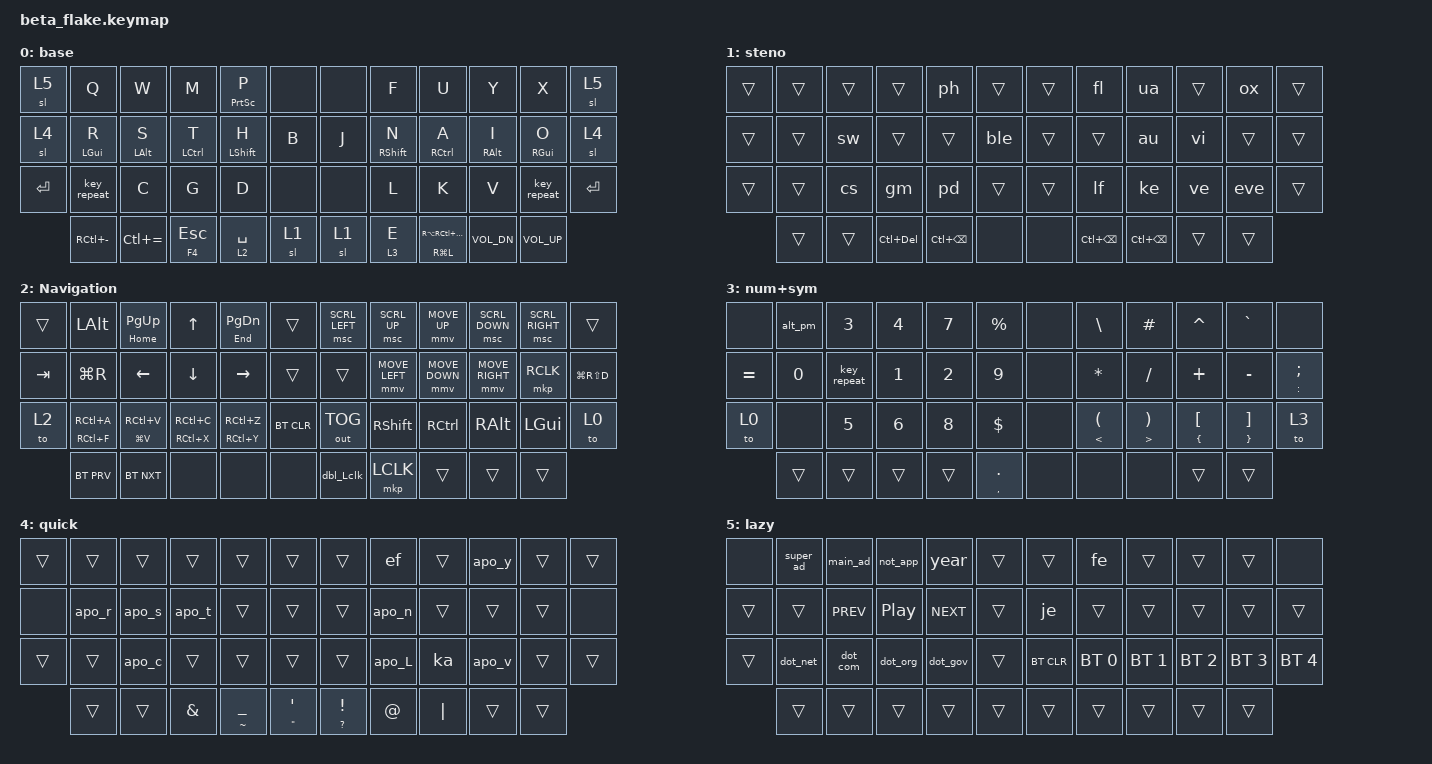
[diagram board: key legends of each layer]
#include <behaviors.dtsi>
#include <dt-bindings/zmk/bt.h>
#include <dt-bindings/zmk/keys.h>
#include <dt-bindings/zmk/outputs.h>
#include <dt-bindings/zmk/pointing.h>

&mt {
    require-prior-idle-ms = <10>;
    tapping-term-ms = <175>;
};

&caps_word { continue-list = <UNDERSCORE BACKSPACE DELETE MINUS N1 N2 N3 N4 N5 N6 N7 N8 N9 N0 PLUS TILDE>; };

&lt { require-prior-idle-ms = <10>; };

/ {
    combos {
        compatible = "zmk,combos";

        zoom {
            bindings = <&kp RC(N0)>;
            key-positions = <36 37>;
            layers = <0>;
        };

        mute {
            bindings = <&kp C_MUTE>;
            key-positions = <44 45>;
            require-prior-idle-ms = <10>;
            layers = <0>;
        };
    };

    macros {
        dbl_Lclk: dbl_Lclk {
            compatible = "zmk,behavior-macro";
            #binding-cells = <0>;
            bindings = <&mkp LCLK &mkp LCLK>;
            label = "DBL_LCLK";
        };

        carets: carets {
            compatible = "zmk,behavior-macro";
            #binding-cells = <0>;
            bindings = <&kp LT &kp GT &kp LEFT_ARROW>;
            label = "CARETS";
        };

        parents: parents {
            compatible = "zmk,behavior-macro";
            #binding-cells = <0>;
            bindings = <&kp LPAR &kp RPAR &kp LEFT_ARROW>;
            label = "PARENTS";
        };

        brackets: brackets {
            compatible = "zmk,behavior-macro";
            #binding-cells = <0>;
            bindings = <&kp LBKT &kp RIGHT_BRACKET &kp LEFT_ARROW>;
            label = "BRACKETS";
        };

        curls: curls {
            compatible = "zmk,behavior-macro";
            #binding-cells = <0>;
            bindings = <&kp LBRC &kp RBRC &kp LEFT_ARROW>;
            label = "CURLS";
        };

        not_app: not_app {
            compatible = "zmk,behavior-macro";
            #binding-cells = <0>;
            bindings = <&kp LS(N) &kp FSLH &kp LS(A)>;
            label = "NOT_APP";
        };

        year: year {
            compatible = "zmk,behavior-macro";
            #binding-cells = <0>;
            bindings = <&kp N2 &kp N0 &kp N2 &kp N5>;
            label = "YEAR";
        };

        main_ad: main_ad {
            compatible = "zmk,behavior-macro";
            #binding-cells = <0>;
            bindings = <&kp D &kp E &kp L &kp L &kp O &kp N &kp DOT &kp M &kp O &kp Y>;
            label = "MAIN_AD";
        };

        super_ad: super_ad {
            compatible = "zmk,behavior-macro";
            #binding-cells = <0>;
            bindings = <&kp S &kp DOT &kp D &kp E &kp L &kp L &kp O &kp N &kp DOT &kp M &kp O &kp Y>;
            label = "SUPER_AD";
        };

        apo_r: apo_r {
            compatible = "zmk,behavior-macro";
            #binding-cells = <0>;
            bindings = <&kp SQT &kp R &kp E &kp SPACE>;
            label = "APO_R";
        };

        apo_s: apo_s {
            compatible = "zmk,behavior-macro";
            #binding-cells = <0>;
            bindings = <&kp SQT &kp S &kp SPACE>;
            label = "APO_S";
        };

        apo_t: apo_t {
            compatible = "zmk,behavior-macro";
            #binding-cells = <0>;
            bindings = <&kp SQT &kp T &kp SPACE>;
            label = "APO_T";
        };

        apo_y: apo_y {
            compatible = "zmk,behavior-macro";
            #binding-cells = <0>;
            bindings = <&kp Y &kp SQT>;
            label = "APO_Y";
        };

        apo_L: apo_L {
            compatible = "zmk,behavior-macro";
            #binding-cells = <0>;
            bindings = <&kp SQT &kp L &kp L &kp SPACE>;
            label = "APO_L";
        };

        apo_v: apo_v {
            compatible = "zmk,behavior-macro";
            #binding-cells = <0>;
            bindings = <&kp SQT &kp V &kp E &kp SPACE>;
            label = "APO_V";
        };

        au: au {
            compatible = "zmk,behavior-macro";
            #binding-cells = <0>;
            bindings = <&kp A &kp U>;
            label = "AU";
        };

        sw: sw {
            compatible = "zmk,behavior-macro";
            #binding-cells = <0>;
            bindings = <&kp S &kp W>;
            label = "SW";
        };

        vi: vi {
            compatible = "zmk,behavior-macro";
            #binding-cells = <0>;
            bindings = <&kp V &kp I>;
            label = "VI";
        };

        cs: cs {
            compatible = "zmk,behavior-macro";
            #binding-cells = <0>;
            bindings = <&kp C &kp S>;
            label = "CS";
        };

        fl: fl {
            compatible = "zmk,behavior-macro";
            #binding-cells = <0>;
            bindings = <&kp F &kp L>;
            label = "FL";
        };

        lf: lf {
            compatible = "zmk,behavior-macro";
            #binding-cells = <0>;
            bindings = <&kp L &kp F>;
            label = "LF";
        };

        comma: comma {
            compatible = "zmk,behavior-macro";
            #binding-cells = <0>;
            bindings = <&kp COMMA &kp SPACE>;
            label = "COMMA";
        };

        period: period {
            compatible = "zmk,behavior-macro";
            #binding-cells = <0>;
            bindings = <&kp DOT &kp SPACE>;
            label = "PERIOD";
        };

        gm: gm {
            compatible = "zmk,behavior-macro";
            #binding-cells = <0>;
            bindings = <&kp G &kp M>;
            label = "GM";
        };

        dot_com: dot_com {
            compatible = "zmk,behavior-macro";
            #binding-cells = <0>;
            bindings = <&kp DOT &kp C &kp O &kp M>;
            label = "DOT_COM";
        };

        dot_net: dot_net {
            compatible = "zmk,behavior-macro";
            #binding-cells = <0>;
            bindings = <&kp DOT &kp N &kp E &kp T>;
            label = "DOT_NET";
        };

        dot_org: dot_org {
            compatible = "zmk,behavior-macro";
            #binding-cells = <0>;
            bindings = <&kp DOT &kp O &kp R &kp G>;
            label = "DOT_ORG";
        };

        dot_gov: dot_gov {
            compatible = "zmk,behavior-macro";
            #binding-cells = <0>;
            bindings = <&kp DOT &kp G &kp O &kp V>;
            label = "DOT_GOV";
        };

        pd: pd {
            compatible = "zmk,behavior-macro";
            #binding-cells = <0>;
            bindings = <&kp P &kp D>;
            label = "PD";
        };

        ef: ef {
            compatible = "zmk,behavior-macro";
            #binding-cells = <0>;
            bindings = <&kp E &kp F>;
            label = "EF";
        };

        fe: fe {
            compatible = "zmk,behavior-macro";
            #binding-cells = <0>;
            bindings = <&kp F &kp E>;
            label = "FE";
        };

        apo_c: apo_c {
            compatible = "zmk,behavior-macro";
            #binding-cells = <0>;
            bindings = <&kp C &kp SQT>;
            label = "APO_C";
        };

        apo_n: apo_n {
            compatible = "zmk,behavior-macro";
            #binding-cells = <0>;
            bindings = <&kp N &kp SQT>;
            label = "APO_N";
        };

        ua: ua {
            compatible = "zmk,behavior-macro";
            #binding-cells = <0>;
            bindings = <&kp U &kp A>;
            label = "UA";
        };

        ox: ox {
            compatible = "zmk,behavior-macro";
            #binding-cells = <0>;
            bindings = <&kp O &kp X>;
            label = "OX";
        };

        ble: ble {
            compatible = "zmk,behavior-macro";
            #binding-cells = <0>;
            bindings = <&kp B &kp L &kp E>;
            label = "BLE";
        };

        Le: Le {
            compatible = "zmk,behavior-macro";
            #binding-cells = <0>;
            bindings = <&kp L &kp E>;
            label = "LE";
        };

        ke: ke {
            compatible = "zmk,behavior-macro";
            #binding-cells = <0>;
            bindings = <&kp K &kp E>;
            label = "KE";
        };

        ve: ve {
            compatible = "zmk,behavior-macro";
            #binding-cells = <0>;
            bindings = <&kp V &kp E>;
            label = "VE";
        };

        eve: eve {
            compatible = "zmk,behavior-macro";
            #binding-cells = <0>;
            bindings = <&kp E &kp V &kp E>;
            label = "EVE";
        };

        je: je {
            compatible = "zmk,behavior-macro";
            #binding-cells = <0>;
            bindings = <&kp J &kp E>;
            label = "JE";
        };

        ph: ph {
            compatible = "zmk,behavior-macro";
            #binding-cells = <0>;
            bindings = <&kp P &kp H>;
            label = "PH";
        };

        alt_pm: alt_pm {
            compatible = "zmk,behavior-macro";
            #binding-cells = <0>;
            bindings = <&kt KP_NUMLOCK &kt LEFT_ALT &kp N0 &kp N1 &kp N7 &kp N7 &kt LEFT_ALT &kt KP_NUMLOCK>;
            label = "ALT_PM";
        };

        ka: ka {
            compatible = "zmk,behavior-macro";
            #binding-cells = <0>;
            bindings = <&kp K &kp A>;
            label = "KA";
        };
    };

    behaviors {
        punct_spc: punct_spc {
            compatible = "zmk,behavior-hold-tap";
            label = "PUNCT_SPC";
            bindings = <&period>, <&comma>;

            #binding-cells = <2>;
            tapping-term-ms = <175>;
            require-prior-idle-ms = <10>;
            flavor = "tap-preferred";
        };
    };

    keymap {
        compatible = "zmk,keymap";

        base {
            bindings = <
&sl 5       &kp Q          &kp W          &kp M        &mt PRINTSCREEN P  &none    &none  &kp F        &kp U                  &kp Y         &kp X         &sl 5
&sl 4       &mt LGUI R     &mt LALT S     &mt LCTRL T  &mt LSHFT H        &kp B    &kp J  &mt RSHFT N  &mt RCTRL A            &mt RALT I    &mt RGUI O    &sl 4
&kp RETURN  &key_repeat    &kp C          &kp G        &kp D              &none    &none  &kp L        &kp K                  &kp V         &key_repeat   &kp RETURN
            &kp RC(MINUS)  &kp LC(EQUAL)  &mt F4 ESC   &lt 2 SPACE        &sl 1    &sl 1  &lt 3 E      &mt RG(L) RA(RC(DEL))  &kp C_VOL_DN  &kp C_VOL_UP
            >;
        };

        steno {
            bindings = <
&trans  &trans  &trans  &trans       &ph           &trans    &trans  &fl           &ua           &trans  &ox     &trans
&trans  &trans  &sw     &trans       &trans        &ble      &trans  &trans        &au           &vi     &trans  &trans
&trans  &trans  &cs     &gm          &pd           &trans    &trans  &lf           &ke           &ve     &eve    &trans
        &trans  &trans  &kp LC(DEL)  &kp LC(BSPC)  &none     &none   &kp LC(BSPC)  &kp LC(BSPC)  &trans  &trans
            >;
        };

        Navigation {
            bindings = <
&trans   &kp LALT         &mt HOME PG_UP   &kp UP           &mt END PG_DN    &trans        &msc SCRL_LEFT  &msc SCRL_UP    &mmv MOVE_UP    &msc SCRL_DOWN   &msc SCRL_RIGHT  &trans
&kp TAB  &kp LG(R)        &kp LEFT         &kp DOWN         &kp RIGHT        &trans        &trans          &mmv MOVE_LEFT  &mmv MOVE_DOWN  &mmv MOVE_RIGHT  &mkp RCLK        &kp LG(RS(D))
&to 2    &mt RC(F) RC(A)  &mt LG(V) RC(V)  &mt RC(X) RC(C)  &mt RC(Y) RC(Z)  &bt BT_CLR    &out OUT_TOG    &kp RSHFT       &kp RCTRL       &kp RALT         &kp LGUI         &to 0
         &bt BT_PRV       &bt BT_NXT       &none            &none            &none         &dbl_Lclk       &mkp LCLK       &trans          &trans           &trans
            >;
        };

        num+sym {
            bindings = <
&none      &alt_pm  &kp N3       &kp N4  &kp N7  &kp PERCENT         &none  &kp BACKSLASH                   &kp POUND                           &kp CARET              &kp GRAVE                      &none
&kp EQUAL  &kp N0   &key_repeat  &kp N1  &kp N2  &kp N9              &none  &kp ASTRK                       &kp SLASH                           &kp PLUS               &kp MINUS                      &mt COLON SEMI
&to 0      &none    &kp N5       &kp N6  &kp N8  &kp DOLLAR          &none  &mt LESS_THAN LEFT_PARENTHESIS  &mt GREATER_THAN RIGHT_PARENTHESIS  &mt LBRC LEFT_BRACKET  &mt RIGHT_BRACE RIGHT_BRACKET  &to 3
           &trans   &trans       &trans  &trans  &mt COMMA PERIOD    &none  &none                           &none                               &trans                 &trans
            >;
        };

        quick {
            bindings = <
&trans  &trans  &trans  &trans    &trans           &trans                            &trans             &ef     &trans    &apo_y  &trans  &trans
&none   &apo_r  &apo_s  &apo_t    &trans           &trans                            &trans             &apo_n  &trans    &trans  &trans  &none
&trans  &trans  &apo_c  &trans    &trans           &trans                            &trans             &apo_L  &ka       &apo_v  &trans  &trans
        &trans  &trans  &kp AMPS  &mt TILDE UNDER  &mt DOUBLE_QUOTES SINGLE_QUOTE    &mt QUESTION EXCL  &kp AT  &kp PIPE  &trans  &trans
            >;
        };

        lazy {
            bindings = <
&none   &super_ad  &main_ad    &not_app  &year       &trans    &trans      &fe           &trans        &trans        &trans        &none
&trans  &trans     &kp C_PREV  &kp C_PP  &kp C_NEXT  &trans    &je         &trans        &trans        &trans        &trans        &trans
&trans  &dot_net   &dot_com    &dot_org  &dot_gov    &trans    &bt BT_CLR  &bt BT_SEL 0  &bt BT_SEL 1  &bt BT_SEL 2  &bt BT_SEL 3  &bt BT_SEL 4
        &trans     &trans      &trans    &trans      &trans    &trans      &trans        &trans        &trans        &trans
            >;
        };
    };
};
